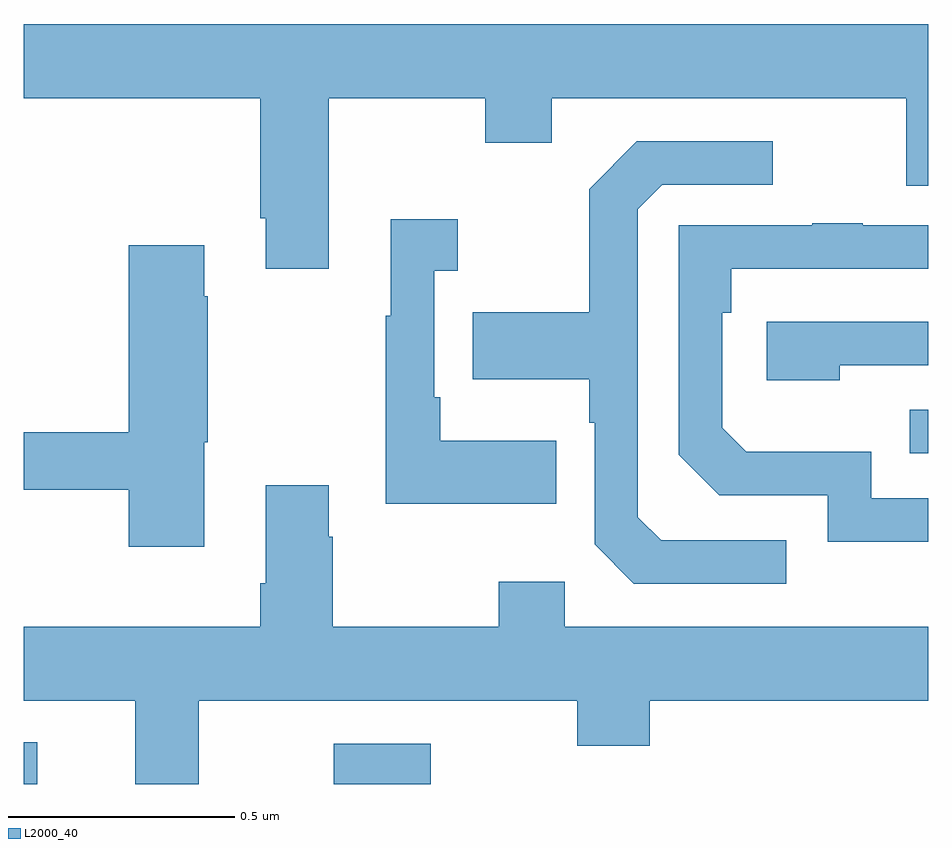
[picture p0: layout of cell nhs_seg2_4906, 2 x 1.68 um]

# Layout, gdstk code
import gdstk
lib = gdstk.Library(unit=1e-6, precision=1e-09)
def R(c, l, rs):  # rectangles x0, y0, x1, y1
    for r in rs: c.add(gdstk.rectangle(r[:2], r[2:], *l))
def P(c, l, *ps):  # polygons
    for p in ps: c.add(gdstk.Polygon(p, *l))
L2000_40 = (2000, 40)

nhs_seg2_4906 = lib.new_cell('nhs_seg2_4906')
R(nhs_seg2_4906, L2000_40, [(172,632.8,172.03,632.892), (172.685,632.8,172.9,632.889), (173.959,633.531,174,633.627)])
P(nhs_seg2_4906, L2000_40, [(172.675,634.316),(173.02,634.316),(173.02,634.217),(173.167,634.217),(173.167,634.316),(173.951,634.316),(173.951,634.122),(174,634.122),(174,634.48),(172,634.48),(172,634.316),(172.523,634.316),(172.523,634.051),(172.535,634.051),(172.535,633.939),(172.675,633.939)],
  [(173.686,633.339),(173.409,633.339),(173.358,633.39),(173.358,634.071),(173.412,634.125),(173.656,634.125),(173.656,634.221),(173.355,634.221),(173.25,634.115),(173.25,633.843),(172.993,633.843),(172.993,633.695),(173.25,633.695),(173.25,633.599),(173.262,633.599),(173.262,633.33),(173.349,633.243),(173.686,633.243)],
  [(173.177,633.559),(172.921,633.559),(172.921,633.655),(172.908,633.655),(172.908,633.935),(172.96,633.935),(172.96,634.048),(172.811,634.048),(172.811,633.835),(172.8,633.835),(172.8,633.419),(173.177,633.419)],
  [(174,633.432),(173.874,633.432),(173.874,633.535),(173.597,633.535),(173.544,633.588),(173.544,633.842),(173.564,633.842),(173.564,633.939),(174,633.939),(174,634.035),(173.855,634.035),(173.855,634.04),(173.743,634.04),(173.743,634.035),(173.448,634.035),(173.448,633.528),(173.538,633.438),(173.778,633.438),(173.778,633.336),(174,633.336)],
  [(172.399,633.555),(172.407,633.555),(172.407,633.878),(172.399,633.878),(172.399,633.991),(172.232,633.991),(172.232,633.578),(172,633.578),(172,633.45),(172.232,633.45),(172.232,633.324),(172.399,633.324)],
  [(173.804,633.726),(174,633.726),(174,633.822),(173.643,633.822),(173.643,633.692),(173.804,633.692)],
  [(172.387,632.984),(173.224,632.984),(173.224,632.885),(173.384,632.885),(173.384,632.984),(174,632.984),(174,633.148),(173.196,633.148),(173.196,633.247),(173.05,633.247),(173.05,633.148),(172.683,633.148),(172.683,633.347),(172.675,633.347),(172.675,633.46),(172.535,633.46),(172.535,633.244),(172.523,633.244),(172.523,633.148),(172,633.148),(172,632.984),(172.247,632.984),(172.247,632.8),(172.387,632.8)])

lib.write_gds('nhs_seg2_4906.gds')
